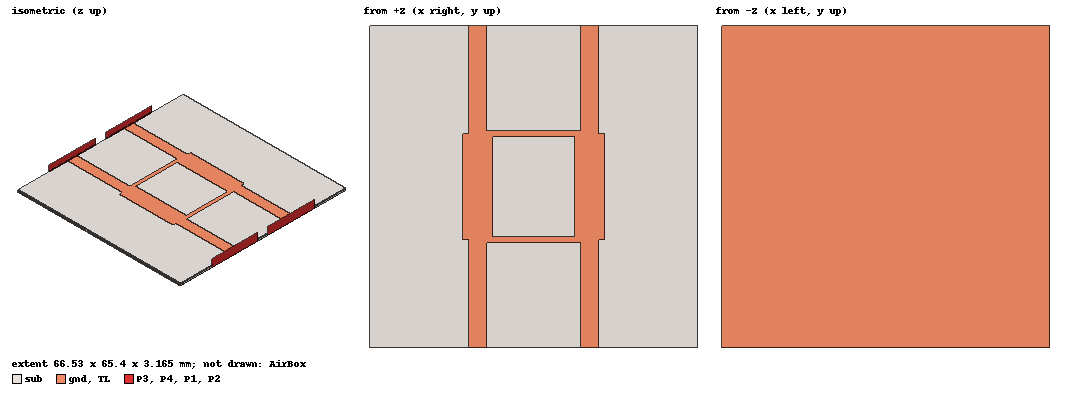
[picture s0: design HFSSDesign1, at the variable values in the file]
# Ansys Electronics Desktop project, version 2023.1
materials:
  vacuum: permittivity=1
  Rogers RT/duroid 5870 (tm): permittivity=2.33 dielectric_loss_tangent=0.0012
  copper: permeability=0.999991 conductivity=58000000
  FR4_epoxy: permittivity=4.4 dielectric_loss_tangent=0.02

design HFSSDesign1 (HFSS, HFSS Modal Network, model units mm)
options: Save_Adaptive_support_files
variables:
  Lf = 21.9171mm
  L1 = 22.6955mm  # optimise 20mm..24mm
  L2 = 21.5665mm
  hs = 0.787mm
  hc = 0.017mm
  Wf = 3.70431mm
  W1 = 1.26359mm
  W2 = 6.07222mm
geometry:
  sub [Rogers RT/duroid 5870 (tm)] = box(corner=(-Lf-L1/2, -Lf-L2/2, 0mm), size=(2*Lf+L1, 2*Lf+L2, hs))
  gnd [copper] = box(corner=(-Lf-L1/2, -Lf-L2/2, 0mm), size=(2*Lf+L1, 2*Lf+L2, -hc))
  AirBox [vacuum] = box(corner=(-Lf-L1/2-10mm, -Lf-L2/2, -10mm), size=(2*Lf+L1+20mm, 2*Lf+L2, 20mm))
  TL [copper] = box(corner=(-L1/2-Wf/2, -L2/2, hs), size=(Wf, -Lf, hc))
  Box3 = box(corner=(-L1/2-Wf/2, L2/2, hs), size=(Wf, Lf, hc))
  Box4 = box(corner=(L1/2+Wf/2, L2/2, hs), size=(-Wf, Lf, hc))
  Box5 = box(corner=(L1/2+Wf/2, -L2/2, hs), size=(-Wf, -Lf, hc))
  Box6 = box(corner=(-L1/2, -L2/2-W1/2, hs), size=(L1, W1, hc))
  Box7 = box(corner=(-L1/2, L2/2+W1/2, hs), size=(L1, -W1, hc))
  Box8 = box(corner=(-L1/2+W2/2, -L2/2, hs), size=(-W2, L2, hc))
  Box9 = box(corner=(L1/2-W2/2, -L2/2, hs), size=(W2, L2, hc))
  P1 = rectangle(corner=(-L1/2-2.5*Wf, -L2/2-Lf, 0mm), z_size=4*hs, x_size=5*Wf)
  P2 = rectangle(corner=(-L1/2-2.5*Wf, L2/2+Lf, 0mm), z_size=4*hs, x_size=5*Wf)
  P3 = rectangle(corner=(L1/2-2.5*Wf, L2/2+Lf, 0mm), z_size=4*hs, x_size=5*Wf)
  P4 = rectangle(corner=(L1/2-2.5*Wf, -L2/2-Lf, 0mm), z_size=4*hs, x_size=5*Wf)
  TL.unite(Box3..Box9)
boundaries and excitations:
  Rad1: Radiation Objects=AirBox
  1: Wave Port Objects=P1 WavePortType=Modal NumModes=1 Modes{Mode1{IntLine{(-11.34775, -32.70035, 0.804) -> (-11.34775, -32.70035, 0)} CharImp=Zpi}}
  2: Wave Port Objects=P2 WavePortType=Modal NumModes=1 Modes{Mode1{IntLine{(-11.34775, 32.70035, 0.804) -> (-11.34775, 32.70035, 0)} CharImp=Zpi}}
  3: Wave Port Objects=P3 WavePortType=Modal NumModes=1 Modes{Mode1{IntLine{(11.34775, 32.70035, 0.804) -> (11.34775, 32.70035, 0)} CharImp=Zpi}}
  4: Wave Port Objects=P4 WavePortType=Modal NumModes=1 Modes{Mode1{IntLine{(11.34775, -32.70035, 0.804) -> (11.34775, -32.70035, 0)} CharImp=Zpi}}
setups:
  Setup1: HfssDriven Frequency=2.4GHz MaxDeltaS=0.02 MaximumPasses=20 MinimumPasses=1 MinimumConvergedPasses=1 PercentRefinement=30 BasisOrder=1 PortAccuracy=2 DrivenSolverType="Direct Solver"
    sweep Sweep: 0.9GHz to 3.9GHz step 0.005GHz; Type=Fast SaveFields
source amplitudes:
  1:1: 1W 0deg
  2:1, 3:1, 4:1: 0W 0deg
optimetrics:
  OptimizationSetup1: Optimization disabled Optimizer="Quasi Newton" AnalysisStopOptions{StopForNumIteration MaxNumIteration=1000 MinNumIteration=10} CostFuncNormType=L2 Acceptable_Cost=0 Noise=0.0001 UpdateDesignWhenDone
    goal dB(S(1,1)) <= -20 weight 1 on Setup1 : Sweep at Freq 1.4GHz to 1.5GHz
    goal dB(S(2,1)) >= -3.3 weight 2 on Setup1 : Sweep at Freq 1.4GHz to 1.5GHz
    goal dB(S(3,1)) >= -3.3 weight 2 on Setup1 : Sweep at Freq 1.4GHz to 1.5GHz
    goal dB(S(4,1)) <= -20 weight 1 on Setup1 : Sweep at Freq 1.4GHz to 1.5GHz
    goal abs(dB(S(2,1))-dB(S(3,1))) == 0.1 weight 1 on Setup1 : Sweep at Freq 1.45GHz to 2.45GHz
  ParametricSetup1: Parametric disabled Sim._Setups=[Setup1]
    sweep Lf: LIN 19mm 23mm 0.5mm
  ParametricSetup2: Parametric disabled Sim._Setups=[Setup1]
    sweep L1: LIN 20mm 24mm 0.5mm
  ParametricSetup3: Parametric disabled Sim._Setups=[Setup1]
    sweep L2: LIN 18mm 21mm 0.5mm
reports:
  S Parameter Plot 1: dB(S(1,1)), dB(S(2,1)), dB(S(3,1)), dB(S(4,1)), dB(S(2,3)) vs Freq on Setup1 : Sweep; markers MX1 at x=2.3997373e+09, MX2 at x=2.2998949e+09, MX3 at x=2.5001051e+09
  S Parameter Plot 3: dB(S(2,1))-dB(S(3,1)), cang_deg(S(2,1))-cang_deg(S(3,1)) vs Freq on Setup1 : Sweep; markers MX1 at x=2.4e+09, MX2 at x=2.4981818e+09, MX3 at x=2.3e+09
  S Parameter Plot 2: ang_deg(S(1,1)), ang_deg(S(2,1)), ang_deg(S(3,1)), ang_deg(S(4,1)) vs Freq on Setup1 : Sweep; markers MX1 at x=1.4502075e+09, MX2 at x=1.4004149e+09, MX3 at x=1.5e+09
  S Parameter Plot 4: dB(S(1,1)), dB(S(4,1)) vs Freq on Setup1 : Sweep [Lf=all L1=all L2=all]; dB(S(4,1)) vs Freq on Setup1 : Sweep [L2=all]
